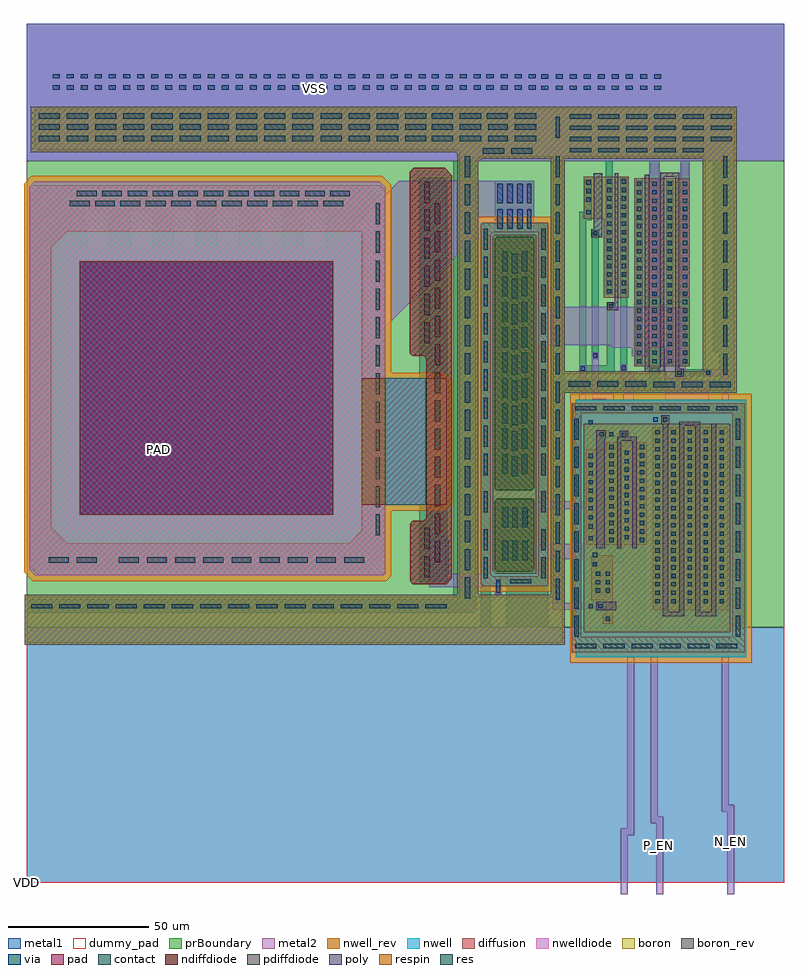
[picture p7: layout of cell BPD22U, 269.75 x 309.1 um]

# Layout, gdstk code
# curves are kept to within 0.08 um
import gdstk
lib = gdstk.Library(unit=1e-6, precision=1e-09)
def R(c, l, rs):  # rectangles x0, y0, x1, y1
    for r in rs: c.add(gdstk.rectangle(r[:2], r[2:], *l))
def A(c, l, x, y, w, h, nx, ny, dx, dy):  # array of equal rectangles
    R(c, l, [(x+i*dx, y+j*dy, x+i*dx+w, y+j*dy+h) for i in range(nx) for j in range(ny)])
def P(c, l, *ps):  # polygons
    for p in ps: c.add(gdstk.Polygon(p, *l))
nwell = (1, 0)
diffusion = (2, 0)
nwell_rev = (3, 0)
poly = (4, 0)
boron = (5, 0)
boron_rev = (6, 0)
contact = (7, 0)
metal1 = (8, 0)
via = (9, 0)
metal2 = (10, 0)
pad = (11, 0)
prBoundary = (28, 0)
res = (35, 0)
respin = (36, 0)
pdiffdiode = (37, 0)
nwelldiode = (38, 0)
ndiffdiode = (39, 0)
dummy_pad = (40, 0)

bpd22u = lib.new_cell('BPD22U')
R(bpd22u, nwell, [(194.95,80,255.35,171.45)])
P(bpd22u, nwell, [(161.5,105.25),(161.15,105.6),(161.15,233.95),(161.45,234.25),(185,234.25),(185.15,234.1),(185.15,105.6),(184.8,105.25)],
  [(3.15,108.95),(1.05,111.05),(1.05,247.25),(2.6,248.8),(125.25,248.8),(127.4,246.65),(127.4,179.652),(128.002,179.05),(147.45,179.05),(149.1,177.4),(149.1,135.7),(147.45,134.05),(128.058,134.05),(127.45,133.442),(127.45,109.75),(126.65,108.95)])
R(bpd22u, diffusion, [(222.15,96.6,248.95,161.6), (215.7,183.3,235.4,250)])
P(bpd22u, diffusion, [(162.101,105.25),(161.15,106.201),(161.15,233.344),(162.056,234.25),(181.65,234.25),(181.65,230.75),(165.536,230.75),(164.65,229.864),(164.65,109.515),(165.415,108.75),(181.395,108.75),(181.65,109.005),(181.65,234.25),(184.95,234.25),(185.15,234.05),(185.15,106.052),(184.348,105.25)],
  [(3.95,109.3),(1.05,112.2),(1.05,246.563),(2.037,247.55),(119,247.55),(119,231),(14.214,231),(8.7,225.486),(8.7,126.204),(14.404,120.5),(114.449,120.5),(119,125.051),(119,247.55),(125.563,247.55),(127.35,245.763),(127.35,109.952),(126.698,109.3)],
  [(137.101,105.95),(136.1,106.951),(136.1,127.549),(136.951,128.4),(140.987,128.4),(141.85,129.263),(141.85,185.999),(140.849,187),(136.906,187),(136,187.906),(136,252.285),(137.365,253.65),(148.4,253.65),(150.9,251.15),(150.9,108.002),(148.848,105.95)],
  [(193.4,81.7),(193.4,170.1),(250.5,170.1),(250.5,166.6),(196.9,166.6),(196.9,87.2),(250.5,87.2),(250.5,170.1),(254.95,170.1),(254.95,81.7)],
  [(0,85.15),(0,101.45),(153.45,101.45),(153.45,259.248),(152.848,259.85),(3.814,259.85),(2.85,260.814),(2.85,273.45),(4.05,274.65),(186.75,274.65),(186.75,257.65),(160.704,257.65),(159.55,256.496),(159.552,101.45),(186.295,101.45),(186.75,101.905),(186.75,274.65),(240.7,274.65),(240.7,257.65),(190.25,257.65),(190.25,180.7),(227,180.7),(227,179.05),(235.45,179.05),(235.45,180.7),(240.7,180.7),(240.7,274.65),(251.3,274.65),(251.3,174.5),(190.25,174.5),(190.25,85.15)],
  [(167.105,110.25),(166.15,111.205),(166.15,135.6),(166.8,136.25),(179.65,136.25),(180.15,135.75),(180.15,111.15),(179.25,110.25)],
  [(204.5,91.9),(204.5,95.4),(205.5,95.4),(205.5,100.2),(200.4,100.2),(200.4,116.2),(208,116.2),(208,91.9)],
  [(166.752,139.25),(166.15,139.852),(166.15,228.35),(167.05,229.25),(179.448,229.25),(180.15,228.548),(180.15,140.156),(179.244,139.25)],
  [(198.45,119.85),(198.45,153.85),(205.65,153.85),(205.65,156.35),(220.15,156.35),(220.15,119.85)],
  [(204.85,207.6),(204.85,235.6),(197.65,235.6),(197.65,250.6),(213.7,250.6),(213.7,207.6)])
R(bpd22u, nwell_rev, [(192.95,78,257.35,173.45)])
P(bpd22u, nwell_rev, [(160.672,103.25),(159.15,104.772),(159.15,234.778),(160.622,236.25),(185.828,236.25),(187.15,234.928),(187.15,104.772),(185.628,103.25)],
  [(2.322,106.95),(-0.95,110.222),(-0.95,248.078),(1.772,250.8),(126.078,250.8),(129.4,247.478),(129.4,181.05),(148.278,181.05),(151.1,178.228),(151.1,134.872),(148.278,132.05),(129.45,132.05),(129.45,108.922),(127.478,106.95)])
R(bpd22u, poly, [(202.2,96.65,209.2,99.65)])
P(bpd22u, poly, [(225.85,94.55),(225.85,162.9),(225.15,162.9),(225.15,165.8),(228.1,165.8),(228.1,162.9),(227.65,162.9),(227.65,96.1),(231.55,96.1),(231.55,163.6),(239.05,163.6),(239.05,96.1),(242.95,96.1),(242.95,162.8),(244.75,162.8),(244.75,94.6),(237.25,94.6),(237.25,162.1),(233.35,162.1),(233.35,94.55)],
  [(230.2,179.55),(230.2,250.5),(226.3,250.5),(226.3,181.3),(219.4,181.3),(219.4,251.2),(220.9,251.2),(220.9,182.8),(224.8,182.8),(224.8,252),(231.7,252),(231.7,182.45),(233.15,182.45),(233.15,179.55)],
  [(202.15,118.65),(202.15,160.6),(205.55,160.6),(205.55,157.7),(205.15,157.7),(205.15,118.65)],
  [(209.55,118.65),(209.55,158.25),(210.55,158.25),(210.55,160.35),(213.5,160.35),(213.5,158.25),(216.45,158.25),(216.45,118.65),(214.95,118.65),(214.95,156.85),(211.05,156.85),(211.05,118.65)],
  [(200.35,229),(200.35,231.9),(201.35,231.9),(201.35,251.85),(204.35,251.85),(204.35,229)],
  [(206,203.15),(206,206.05),(208.8,206.05),(208.8,251.85),(210,251.85),(210,203.15)])
R(bpd22u, boron, [(197.75,88.8,249.75,162.85)])
P(bpd22u, boron, [(166.6,109.55),(165.45,110.7),(165.45,229.5),(165.9,229.95),(180.85,229.95),(180.85,109.55)],
  [(-0.7,84.45),(-0.7,102.15),(152.75,102.15),(152.75,258.6),(152.2,259.15),(1.4,259.15),(1.4,275.45),(186.05,275.45),(186.05,256.95),(161.451,256.95),(160.25,255.749),(160.25,102.15),(185.7,102.15),(186.05,102.5),(186.05,275.45),(240,275.45),(240,256.95),(190.95,256.95),(190.95,181.45),(240,181.45),(240,275.45),(252.05,275.45),(252.05,173.8),(190.95,173.8),(190.95,84.45)])
R(bpd22u, boron_rev, [(197.75,88.8,249.75,162.85)])
P(bpd22u, boron_rev, [(166.6,109.55),(165.45,110.7),(165.45,229.5),(165.9,229.95),(180.85,229.95),(180.85,109.55)],
  [(-0.7,84.45),(-0.7,102.15),(152.75,102.15),(152.75,258.6),(152.2,259.15),(1.4,259.15),(1.4,275.45),(186.05,275.45),(186.05,256.95),(161.451,256.95),(160.25,255.749),(160.25,102.15),(185.7,102.15),(186.05,102.5),(186.05,275.45),(240,275.45),(240,256.95),(190.95,256.95),(190.95,181.45),(240,181.45),(240,275.45),(252.05,275.45),(252.05,173.8),(190.95,173.8),(190.95,84.45)])
A(bpd22u, contact, 194.7, 83.2, 7.5, 1.5, 6, 2, 10, 84.4)
A(bpd22u, contact, 194.4, 87.2, 1.5, 7.5, 1, 8, 0, 10)
A(bpd22u, contact, 251.7, 87.2, 1.5, 7.5, 1, 8, 0, 10)
A(bpd22u, contact, 1.55, 97.3, 7.5, 1.5, 15, 1, 10, 0)
A(bpd22u, contact, 223.15, 99.1, 1.5, 1.5, 5, 3, 5.7, 3)
A(bpd22u, contact, 155.45, 100.85, 2, 7.5, 1, 3, 0, 10)
A(bpd22u, contact, 202.05, 102.9, 1.5, 1.5, 1, 3, 0, 3)
A(bpd22u, contact, 205.5, 102.9, 1.5, 1.5, 1, 3, 0, 3)
A(bpd22u, contact, 223.15, 108.1, 1.5, 1.5, 3, 6, 11.4, 6)
A(bpd22u, contact, 187.75, 110.35, 1.5, 7.5, 1, 15, 0, 10)
A(bpd22u, contact, 223.15, 111.1, 1.5, 1.5, 5, 6, 5.7, 6)
A(bpd22u, contact, 32.75, 113.55, 7, 2, 9, 1, 10, 0)
A(bpd22u, contact, 168.85, 114.4, 2, 7, 3, 1, 3.5, 0)
A(bpd22u, contact, 206.85, 120.85, 1.5, 1.5, 1, 12, 0, 3)
A(bpd22u, contact, 217.65, 120.85, 1.5, 1.5, 1, 12, 0, 3)
A(bpd22u, contact, 123.85, 123.25, 1.5, 7.5, 1, 10, 0, 10)
A(bpd22u, contact, 144.85, 123.65, 2, 7.5, 1, 12, 0, 10)
A(bpd22u, contact, 155.45, 130.35, 2, 7.5, 1, 13, 0, 10)
A(bpd22u, contact, 212.25, 130.85, 1.5, 1.5, 1, 4, 0, 3)
A(bpd22u, contact, 223.15, 144.1, 1.5, 1.5, 5, 2, 5.7, 6)
A(bpd22u, contact, 172.25, 144.25, 2, 7, 1, 9, 0, 9)
A(bpd22u, contact, 162.15, 144.65, 1.5, 7.5, 1, 9, 0, 10)
A(bpd22u, contact, 182.65, 144.65, 1.5, 7.5, 1, 9, 0, 10)
A(bpd22u, contact, 168.75, 145.05, 2, 7, 1, 9, 0, 9)
A(bpd22u, contact, 175.75, 145.05, 2, 7, 1, 9, 0, 9)
A(bpd22u, contact, 223.15, 147.1, 1.5, 1.5, 3, 2, 11.4, 9)
A(bpd22u, contact, 223.15, 153.1, 1.5, 1.5, 5, 2, 5.7, 6)
A(bpd22u, contact, 222.45, 175.75, 7.5, 2, 3, 1, 10, 0)
A(bpd22u, contact, 192.45, 176, 7.5, 2, 3, 1, 10, 0)
A(bpd22u, contact, 247.15, 180.25, 1.5, 7.5, 1, 8, 0, 10)
A(bpd22u, contact, 216.7, 184.3, 1.5, 1.5, 4, 4, 5.4, 6)
A(bpd22u, contact, 222.1, 187.3, 1.5, 1.5, 1, 3, 0, 6)
A(bpd22u, contact, 232.9, 187.3, 1.5, 1.5, 1, 3, 0, 6)
A(bpd22u, contact, 141.05, 191.45, 2, 7.5, 1, 5, 0, 10)
A(bpd22u, contact, 216.7, 205.3, 1.5, 1.5, 4, 8, 5.4, 6)
A(bpd22u, contact, 216.7, 208.3, 1.5, 1.5, 1, 7, 0, 6)
A(bpd22u, contact, 227.5, 208.3, 1.5, 1.5, 1, 7, 0, 6)
A(bpd22u, contact, 206.05, 209.1, 1.5, 1.5, 1, 14, 0, 3)
A(bpd22u, contact, 211.2, 209.1, 1.5, 1.5, 1, 14, 0, 3)
A(bpd22u, contact, 15.3, 240.05, 7, 2, 11, 1, 9, 0)
A(bpd22u, contact, 198.65, 241.7, 1.5, 1.5, 1, 3, 0, 3)
A(bpd22u, contact, 17.8, 243.55, 7, 2, 10, 1, 9, 0)
A(bpd22u, contact, 192.8, 259.15, 7.5, 1.5, 5, 1, 10, 0)
A(bpd22u, contact, 4.3, 263.15, 7.5, 2, 14, 3, 10, 4)
A(bpd22u, contact, 143.8, 263.15, 7.5, 2, 1, 3, 0, 4)
A(bpd22u, contact, 173.3, 263.15, 7.5, 2, 1, 3, 0, 4)
A(bpd22u, contact, 192.8, 263.15, 7.5, 1.5, 6, 3, 10, 4)
R(bpd22u, contact, [(205.5,92.9,207,94.4), (202.9,97.35,204.4,98.85), (171.55,106.25,179.05,107.75), (162.15,108,163.65,115.5), (182.65,108,184.15,115.5), (141.05,108.4,143.05,115.9), (7.85,113.55,14.85,115.55), (17.85,113.55,24.85,115.55), (162.15,118,163.65,125.5), (182.65,118,184.15,125.5), (141.05,118.45,143.05,125.95), (199.45,121.45,200.95,122.95), (212.25,121.85,213.75,123.35), (212.25,124.85,213.75,126.35), (199.45,125.65,200.95,127.15), (168.85,126.15,170.85,133.15), (172.35,126.15,174.35,133.15), (199.45,128.9,200.95,130.4), (162.15,131.4,163.65,138.9), (182.65,131.4,184.15,138.9), (199.45,132.1,200.95,133.6), (199.45,135.1,200.95,136.6), (199.45,138.3,200.95,139.8), (199.45,141.3,200.95,142.8), (199.45,144.5,200.95,146), (212.25,145.85,213.75,147.35), (199.45,147.5,200.95,149), (199.45,150.7,200.95,152.2), (212.25,151.85,213.75,153.35), (211.3,158.15,212.8,159.65), (203.35,158.4,204.85,159.9), (225.9,163.6,227.4,165.1), (230.95,180.25,232.45,181.75), (206.7,203.85,208.2,205.35), (123.85,223.6,125.35,231.1), (201.05,229.7,202.55,231.2), (123.85,233.6,125.35,241.1), (198.65,237.15,200.15,238.65), (141.05,241.15,143.05,248.65), (107.8,243.55,114.7,245.55), (161.95,258.65,169.45,260.65), (171.95,258.65,179.45,260.65), (153.65,263.15,161.3,265.15), (163.8,263.15,170.8,265.15), (187.75,264.35,189.25,271.85), (153.65,267.15,161.3,269.15), (163.8,267.15,170.8,269.15), (153.8,271.15,161.3,273.15), (163.3,271.15,170.8,273.15)])
R(bpd22u, metal1, [(0,0,268.8,90.7), (199,96.85,204.9,99.35), (228.35,98.6,230.85,161.1), (239.75,98.6,242.25,161.1), (211.75,121.35,214.25,155.05), (202.85,157.9,208.75,160.4), (221.95,163.1,227.95,165.6), (230.4,179.75,243.2,182.25), (210.7,181.4,213.2,250.1), (216.2,183.8,218.7,249.3), (227,183.8,229.5,249.3), (0,256.2,268.8,304.9)])
P(bpd22u, metal1, [(0.75,95.85),(0.75,100.5),(151.35,100.5),(151.35,256.2),(0,256.2),(0,304.9),(221,304.9),(221,256.2),(208.05,256.2),(208.05,208.6),(205.55,208.6),(205.55,256.2),(190.95,256.2),(190.95,178.5),(221,178.5),(221,304.9),(243.7,304.9),(243.7,256.2),(235.4,256.2),(235.4,183.8),(231.9,183.8),(231.9,256.2),(224.7,256.2),(224.7,178.25),(245.85,178.25),(245.85,188.2),(243.7,188.2),(243.7,304.9),(268.8,304.9),(268.8,256.2),(250.8,256.2),(250.8,175.1),(190.95,175.15),(190.95,99.3),(190.85,99.2),(186.85,99.2),(186.75,99.3),(186.75,255.344),(185.894,256.2),(160.252,256.2),(159.55,255.498),(159.55,97.066),(158.334,95.85)],
  [(2.45,110.8),(1.75,111.5),(1.75,245.949),(3.351,247.55),(29.2,247.55),(29.2,238.55),(21.5,238.55),(21.5,225.55),(29.2,225.55),(29.2,247.55),(44.6,247.55),(44.6,238.55),(36.9,238.55),(36.9,225.55),(44.6,225.55),(44.6,247.55),(60,247.55),(60,238.55),(52.3,238.55),(52.3,225.55),(60,225.55),(60,247.55),(75.4,247.55),(75.4,238.55),(67.7,238.55),(67.7,225.55),(75.4,225.55),(75.4,247.55),(90.8,247.55),(90.8,238.55),(83.1,238.55),(83.1,225.55),(90.8,225.55),(90.8,247.55),(106.2,247.55),(106.2,238.55),(98.5,238.55),(98.5,225.55),(106.2,225.55),(106.2,247.55),(121.25,247.55),(127.4,241.4),(127.4,214),(127.3,214),(127.35,116.437),(121.713,110.8)],
  [(139.35,106.65),(139.35,249.685),(139.915,250.25),(148.548,250.25),(149.35,249.448),(149.35,106.65)],
  [(0,0),(0,90.7),(160.689,90.7),(161.15,91.161),(161.15,233.85),(161.55,234.25),(164.197,234.25),(164.65,233.797),(164.65,91.05),(165,90.7),(169.7,90.7),(170.15,91.15),(170.15,108.248),(170.652,108.75),(181.395,108.75),(181.65,109.005),(181.65,233.847),(182.053,234.25),(184.8,234.25),(185.15,233.9),(185.15,91.202),(185.652,90.7),(193.9,90.7),(193.9,169.6),(251,169.6),(251,167.1),(196.4,167.1),(196.4,90.7),(205,90.7),(205,94.95),(207.5,94.95),(207.5,90.7),(214.7,90.7),(214.7,113.55),(206.35,113.55),(206.35,155.85),(208.85,155.85),(208.85,116.7),(217.1,116.7),(217.1,155.85),(219.65,155.85),(219.65,90.7),(222.65,90.7),(222.65,161.1),(225.15,161.1),(225.15,90.7),(234.05,90.7),(234.05,161.1),(236.55,161.1),(236.55,90.7),(245.45,90.7),(245.45,161.1),(247.95,161.1),(247.95,90.7),(251,90.7),(251,169.6),(254.15,169.6),(254.15,90.7),(268.8,90.7),(268.8,0)],
  [(166.15,102.35),(166.15,135.394),(166.157,135.412),(166.237,135.531),(166.956,136.25),(179.348,136.25),(180.15,135.448),(180.15,111.27),(179.13,110.25),(169.601,110.25),(168.65,109.299),(168.65,102.35)],
  [(201.55,102.4),(201.55,108.15),(200.45,108.15),(200.45,111.75),(200.4,111.75),(200.4,117.8),(202.95,117.8),(202.95,110.9),(207.55,110.9),(207.55,102.4)],
  [(166.75,139.25),(166.15,139.85),(166.15,248.498),(166.802,249.15),(179.747,249.15),(180.115,248.782),(180.15,248.697),(180.15,140.156),(179.244,139.25)],
  [(200.55,185.8),(200.55,231.7),(203.05,231.7),(203.05,229.2),(203,229.2),(203,212.7),(203.05,212.7),(203.05,185.8)],
  [(196.15,181.2),(196.15,238.05),(198.15,238.05),(198.15,249.7),(200.65,249.7),(200.65,235.1),(198.65,235.1),(198.65,183.7),(205.9,183.7),(205.9,205.85),(208.7,205.85),(208.7,181.2)],
  [(198.95,120.95),(198.95,164.65),(213.3,164.65),(213.3,157.65),(210.8,157.65),(210.8,162.15),(201.35,162.15),(201.35,153.85),(201.45,153.85),(201.45,120.95)])
A(bpd22u, via, 228.85, 108.1, 1.5, 1.5, 1, 6, 0, 6)
A(bpd22u, via, 240.25, 108.1, 1.5, 1.5, 1, 6, 0, 6)
A(bpd22u, via, 216.7, 187.3, 1.5, 1.5, 1, 3, 0, 6)
A(bpd22u, via, 227.5, 187.3, 1.5, 1.5, 1, 3, 0, 6)
A(bpd22u, via, 222.1, 208.3, 1.5, 1.5, 1, 7, 0, 6)
A(bpd22u, via, 232.9, 208.3, 1.5, 1.5, 1, 7, 0, 6)
A(bpd22u, via, 182.7, 281.4, 2.5, 1.5, 9, 2, 5, 4)
A(bpd22u, via, 9.2, 281.45, 2.5, 1.5, 27, 2, 5, 4)
A(bpd22u, via, 143.7, 281.45, 2.5, 1.5, 4, 2, 5, 4)
A(bpd22u, via, 163.2, 281.45, 2.5, 1.5, 4, 2, 5, 4)
R(bpd22u, via, [(199.5,97.35,201,98.85), (187.75,100.35,189.25,107.85), (166.65,102.85,168.15,107.5), (200.9,112.25,202.4,113.75), (144.85,113.65,146.85,121.15), (200.95,115.55,202.45,117.05), (175.85,126.15,177.85,133.15), (212.25,127.85,213.75,129.35), (18.8,130.55,108.8,220.55), (212.25,142.85,213.75,144.35), (228.85,147.1,230.35,148.6), (240.25,147.1,241.75,148.6), (212.25,148.85,213.75,150.35), (228.85,156.1,230.35,157.6), (240.25,156.1,241.75,157.6), (206.75,158.4,208.25,159.9), (199.45,162.65,200.95,164.15), (222.45,163.6,223.95,165.1), (241.2,180.25,242.7,181.75), (196.65,181.7,198.15,183.2), (211.2,181.9,212.7,183.4), (201.05,186.3,202.55,187.8), (167.05,232.05,169.05,239.05), (170.6,232.05,172.6,239.05), (174.1,232.05,176.1,239.05), (177.6,232.05,179.1,239.05), (167.05,241.05,169.05,248.05), (170.6,241.05,172.6,248.05), (174.1,241.05,176.1,248.05), (177.6,241.05,179.1,248.05)])
R(bpd22u, metal2, [(210.85,-4.2,213.35,16.8), (223.45,-4.2,225.95,21), (248.65,-4.2,251.15,25.2), (0,256.2,268.8,304.9)])
P(bpd22u, metal2, [(174.6,124.85),(174.6,135.35),(203.2,135.35),(203.2,160.55),(205.8,160.55),(205.8,171.6),(200.55,171.6),(200.55,188.3),(203.05,188.3),(203.05,174.1),(208.35,174.1),(208.35,160.55),(208.4,160.55),(208.4,160.4),(208.75,160.4),(208.75,157.9),(205.7,157.9),(205.7,132.45),(179.15,132.45),(179.15,124.85)],
  [(228.35,107.6),(228.3,170.8),(226.55,170.8),(226.55,189.8),(220.3,189.8),(220.3,186.8),(214.7,186.8),(214.7,189.8),(208.004,189.8),(207.154,190.65),(173.207,190.65),(171.6,189.043),(171.6,120.3),(202.95,120.3),(202.95,111.75),(200.4,111.75),(200.4,114.75),(165.1,114.75),(165.1,227.886),(164.386,228.6),(158.748,228.6),(120.25,190.118),(120.25,126.352),(119.448,125.55),(14.751,125.55),(13.8,126.501),(13.8,224.7),(14.65,225.55),(108.749,225.55),(132.15,248.951),(132.15,249.15),(179.547,249.15),(180.2,248.497),(180.2,229.65),(179.15,228.6),(178.8,228.6),(178.3,228.1),(178.3,205.554),(179.504,204.35),(233.9,204.3),(233.9,178.05),(242.25,178.05),(242.25,107.6),(238.05,107.6),(238.05,170.75),(232.05,170.75),(232.1,107.6)],
  [(221,207.8),(221,256.2),(0,256.2),(0,304.9),(268.8,304.9),(268.8,256.2),(235.4,256.2),(235.4,207.8),(231.9,207.8),(231.9,256.2),(224.7,256.2),(224.7,207.8)],
  [(246.7,25.2),(246.7,179.75),(240.25,179.75),(240.25,182.25),(249.2,182.25),(249.2,27.7),(251.15,27.7),(251.15,25.2)],
  [(221.5,21),(221.5,165.6),(224.45,165.6),(224.45,163.1),(224,163.1),(224,23.5),(225.95,23.5),(225.95,21)],
  [(210.85,16.8),(210.85,19.3),(213.1,19.3),(213.1,104.1),(211.75,104.1),(211.75,179),(210.7,179),(210.7,183.95),(213.2,183.95),(213.2,181.4),(215.6,181.4),(215.6,16.8)],
  [(166.15,102.35),(166.15,104.4),(165.7,104.85),(142.8,104.85),(142.8,121.199),(144.651,123.05),(148.05,123.05),(149.8,121.3),(149.8,109.55),(168.05,109.55),(168.65,108.95),(168.65,102.35)],
  [(186.75,96.85),(186.75,108.35),(187.95,109.55),(189.75,109.55),(190.95,108.35),(190.95,99.35),(201.5,99.35),(201.5,96.85)],
  [(196.15,162.15),(196.15,183.7),(198.65,183.7),(198.65,164.65),(201.45,164.65),(201.45,162.15)])
R(bpd22u, pad, [(18.8,130.55,108.8,220.55)])
R(bpd22u, prBoundary, [(0,90.7,268.8,256.15)])
R(bpd22u, res, [(127.35,134.05,141.85,179.05)])
R(bpd22u, respin, [(119,134.05,127.35,179.05), (141.85,134.05,149.1,179.05)])
P(bpd22u, pdiffdiode, [(167.105,110.25),(166.15,111.205),(166.15,135.6),(166.8,136.25),(179.65,136.25),(180.15,135.75),(180.15,111.15),(179.25,110.25)],
  [(166.752,139.25),(166.15,139.852),(166.15,228.35),(167.05,229.25),(179.448,229.25),(180.15,228.548),(180.15,140.156),(179.244,139.25)])
P(bpd22u, nwelldiode, [(3.15,108.95),(1.05,111.05),(1.05,247.25),(2.6,248.8),(125.25,248.8),(127.4,246.65),(127.4,179.652),(128.002,179.05),(147.45,179.05),(149.1,177.4),(149.1,135.7),(147.45,134.05),(128.058,134.05),(127.45,133.442),(127.45,109.75),(126.65,108.95)])
P(bpd22u, ndiffdiode, [(137.101,105.95),(136.1,106.951),(136.1,127.549),(136.951,128.4),(140.987,128.4),(141.85,129.263),(141.85,185.999),(140.849,187),(136.906,187),(136,187.906),(136,252.285),(137.365,253.65),(148.4,253.65),(150.9,251.15),(150.9,108.002),(148.848,105.95)])
R(bpd22u, dummy_pad, [(0,0,268.8,304.9)])
bpd22u.add(gdstk.Label('VSS', (102,281.801), layer=10, texttype=7))
bpd22u.add(gdstk.Label('P_EN', (224.3,13.15), layer=10, texttype=7))
bpd22u.add(gdstk.Label('TO_CORE', (211.25,12.4), layer=10, texttype=7))
bpd22u.add(gdstk.Label('N_EN', (249.7,14.75), layer=10, texttype=7))
bpd22u.add(gdstk.Label('PAD', (46.9,153.55), layer=10, texttype=7))
bpd22u.add(gdstk.Label('VDD', (0.001,0.001), layer=8, texttype=7))

lib.write_gds('BPD22U.gds')
